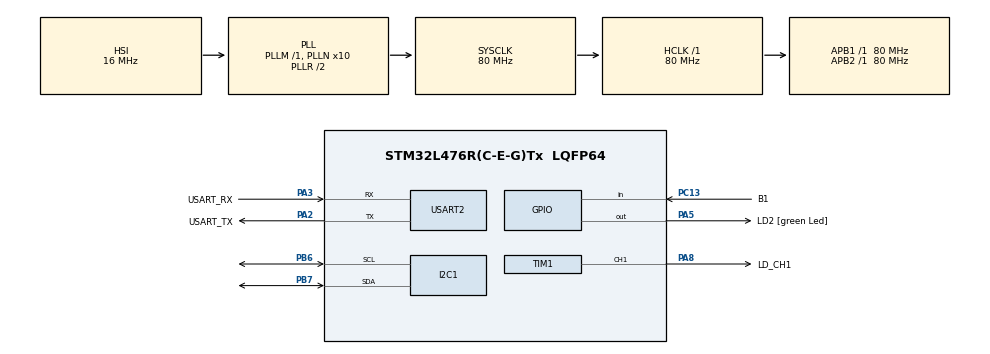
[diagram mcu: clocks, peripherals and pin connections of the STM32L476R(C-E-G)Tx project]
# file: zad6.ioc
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I2C1.Timing=0x10D19CE4
Mcu.Family=STM32L4
Mcu.Name=STM32L476R(C-E-G)Tx
Mcu.Package=LQFP64
NVIC.PriorityGroup=NVIC_PRIORITYGROUP_4
PA13\ (JTMS-SWDIO).GPIO_Label=TMS
PA13\ (JTMS-SWDIO).Mode=Serial_Wire
PA13\ (JTMS-SWDIO).Signal=SYS_JTMS-SWDIO
PA14\ (JTCK-SWCLK).GPIO_Label=TCK
PA14\ (JTCK-SWCLK).Mode=Serial_Wire
PA14\ (JTCK-SWCLK).Signal=SYS_JTCK-SWCLK
PA2.GPIO_Label=USART_TX
PA2.GPIO_Mode=GPIO_MODE_AF_PP
PA2.GPIO_PuPd=GPIO_NOPULL
PA2.GPIO_Speed=GPIO_SPEED_FREQ_VERY_HIGH
PA2.Mode=Asynchronous
PA2.Signal=USART2_TX
PA3.GPIO_Label=USART_RX
PA3.GPIO_Mode=GPIO_MODE_AF_PP
PA3.GPIO_PuPd=GPIO_NOPULL
PA3.GPIO_Speed=GPIO_SPEED_FREQ_VERY_HIGH
PA3.Mode=Asynchronous
PA3.Signal=USART2_RX
PA5.GPIO_Label=LD2 [green Led]
PA5.GPIO_ModeDefaultOutputPP=GPIO_MODE_OUTPUT_PP
PA5.GPIO_PuPd=GPIO_NOPULL
PA5.GPIO_Speed=GPIO_SPEED_FREQ_LOW
PA5.Signal=GPIO_Output
PA8.GPIO_Label=LD_CH1
PA8.Signal=S_TIM1_CH1
PB3\ (JTDO-TRACESWO).GPIO_Label=SWO
PB3\ (JTDO-TRACESWO).Signal=SYS_JTDO-SWO
PB6.Mode=I2C
PB6.Signal=I2C1_SCL
PB7.Mode=I2C
PB7.Signal=I2C1_SDA
PC13.GPIO_Label=B1
PC13.Signal=GPIO_Input
PC14-OSC32_IN\ (PC14).Mode=LSE-External-Oscillator
PC14-OSC32_IN\ (PC14).Signal=RCC_OSC32_IN
PC15-OSC32_OUT\ (PC15).Mode=LSE-External-Oscillator
PC15-OSC32_OUT\ (PC15).Signal=RCC_OSC32_OUT
PH0-OSC_IN\ (PH0).Signal=RCC_OSC_IN
PH1-OSC_OUT\ (PH1).Signal=RCC_OSC_OUT
ProjectManager.HeapSize=0x200
ProjectManager.StackSize=0x400
ProjectManager.TargetToolchain=STM32CubeIDE
RCC.ADCFreq_Value=64000000
RCC.AHBFreq_Value=80000000
RCC.APB1Freq_Value=80000000
RCC.APB1TimFreq_Value=80000000
RCC.APB2Freq_Value=80000000
RCC.APB2TimFreq_Value=80000000
RCC.CortexFreq_Value=80000000
RCC.HCLKFreq_Value=80000000
RCC.HSE_VALUE=8000000
RCC.HSI_VALUE=16000000
RCC.MSI_VALUE=4000000
RCC.PLLN=10
RCC.PLLSourceVirtual=RCC_PLLSOURCE_HSI
RCC.PREFETCH_ENABLE=1
RCC.SYSCLKFreq_VALUE=80000000
RCC.SYSCLKSource=RCC_SYSCLKSOURCE_PLLCLK
RCC.USBFreq_Value=64000000
RCC.VCOOutputFreq_Value=160000000
SH.S_TIM1_CH1.0=TIM1_CH1,PWM Generation1 CH1
TIM1.Channel-PWM\ Generation1\ CH1=TIM_CHANNEL_1
TIM1.Period=999
TIM1.Prescaler=79
USART2.VirtualMode-Asynchronous=VM_ASYNC
VP_TIM1_VS_ClockSourceINT.Mode=Internal
board=NUCLEO-L476RG

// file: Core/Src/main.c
/* USER CODE BEGIN Header */
/**
  ******************************************************************************
  * @file           : main.c
  * @brief          : Main program body
  ******************************************************************************
  * @attention
  *
  * Copyright (c) 2025 STMicroelectronics.
  * All rights reserved.
  *
  * This software is licensed under terms that can be found in the LICENSE file
  * in the root directory of this software component.
  * If no LICENSE file comes with this software, it is provided AS-IS.
  *
  ******************************************************************************
  */
/* USER CODE END Header */
#include "main.h"
#include "i2c.h"
#include "tim.h"
#include "usart.h"
#include "gpio.h"

/* USER CODE BEGIN Includes */
#include <stdlib.h>
#include <string.h>
#include <stdio.h>
#include <stdbool.h>
#include "BH1750.h"
/* USER CODE END Includes */

/* USER CODE BEGIN PD */
#define MAX_LUX 2000.0f
/* USER CODE END PD */

void SystemClock_Config(void);

/* USER CODE BEGIN 0 */
volatile uint32_t lux_millilux = 0;

int __io_putchar(int ch)
{
    uint8_t c = (uint8_t)ch;
    if(c == '\n')
    {
        uint8_t ret = '\r';
        HAL_UART_Transmit(&huart2, &ret, 1, HAL_MAX_DELAY);
    }
    HAL_UART_Transmit(&huart2, &c, 1, HAL_MAX_DELAY);
    return ch;
}
/* USER CODE END 0 */

int main(void)
{

  /* MCU Configuration--------------------------------------------------------*/

  /* Reset of all peripherals, Initializes the Flash interface and the Systick. */
  HAL_Init();

  /* Configure the system clock */
  SystemClock_Config();

  /* Initialize all configured peripherals */
  MX_GPIO_Init();
  MX_USART2_UART_Init();
  MX_I2C1_Init();
  MX_TIM1_Init();
  /* USER CODE BEGIN 2 */
  init_bh1750_sensor(&hi2c1, MODE_CONT_HIGH_RES);
  HAL_Delay(120);
  HAL_TIM_PWM_Start(&htim1, TIM_CHANNEL_1);
  float lux = 0;
  bool is_measured = false;
  /* USER CODE END 2 */

  /* Infinite loop */
  /* USER CODE BEGIN WHILE */
  while (1)
  {

		  if(!is_measured)
			  for(int i = 0; i < htim1.Init.Period; i+=5){
				  char buf[64];
				  __HAL_TIM_SET_COMPARE(&htim1, TIM_CHANNEL_1, i);
				  HAL_Delay(200);
				  lux = read_lux(&hi2c1);
				  sprintf(buf, "%d,%.1f\n", i, lux);
				  HAL_UART_Transmit(&huart2, (uint8_t*)buf, strlen(buf), HAL_MAX_DELAY);
		  }

	  is_measured = true;

    /* USER CODE END WHILE */

  }
}

void SystemClock_Config(void)
{
  RCC_OscInitTypeDef RCC_OscInitStruct = {0};
  RCC_ClkInitTypeDef RCC_ClkInitStruct = {0};

  /** Configure the main internal regulator output voltage
  */
  if (HAL_PWREx_ControlVoltageScaling(PWR_REGULATOR_VOLTAGE_SCALE1) != HAL_OK)
  {
    Error_Handler();
  }

  /** Initializes the RCC Oscillators according to the specified parameters
  * in the RCC_OscInitTypeDef structure.
  */
  RCC_OscInitStruct.OscillatorType = RCC_OSCILLATORTYPE_HSI;
  RCC_OscInitStruct.HSIState = RCC_HSI_ON;
  RCC_OscInitStruct.HSICalibrationValue = RCC_HSICALIBRATION_DEFAULT;
  RCC_OscInitStruct.PLL.PLLState = RCC_PLL_ON;
  RCC_OscInitStruct.PLL.PLLSource = RCC_PLLSOURCE_HSI;
  RCC_OscInitStruct.PLL.PLLM = 1;
  RCC_OscInitStruct.PLL.PLLN = 10;
  RCC_OscInitStruct.PLL.PLLP = RCC_PLLP_DIV7;
  RCC_OscInitStruct.PLL.PLLQ = RCC_PLLQ_DIV2;
  RCC_OscInitStruct.PLL.PLLR = RCC_PLLR_DIV2;
  if (HAL_RCC_OscConfig(&RCC_OscInitStruct) != HAL_OK)
  {
    Error_Handler();
  }

  /** Initializes the CPU, AHB and APB buses clocks
  */
  RCC_ClkInitStruct.ClockType = RCC_CLOCKTYPE_HCLK|RCC_CLOCKTYPE_SYSCLK
                              |RCC_CLOCKTYPE_PCLK1|RCC_CLOCKTYPE_PCLK2;
  RCC_ClkInitStruct.SYSCLKSource = RCC_SYSCLKSOURCE_PLLCLK;
  RCC_ClkInitStruct.AHBCLKDivider = RCC_SYSCLK_DIV1;
  RCC_ClkInitStruct.APB1CLKDivider = RCC_HCLK_DIV1;
  RCC_ClkInitStruct.APB2CLKDivider = RCC_HCLK_DIV1;

  if (HAL_RCC_ClockConfig(&RCC_ClkInitStruct, FLASH_LATENCY_4) != HAL_OK)
  {
    Error_Handler();
  }
}

void Error_Handler(void)
{
  __disable_irq();
  while (1)
  {
  }
}
